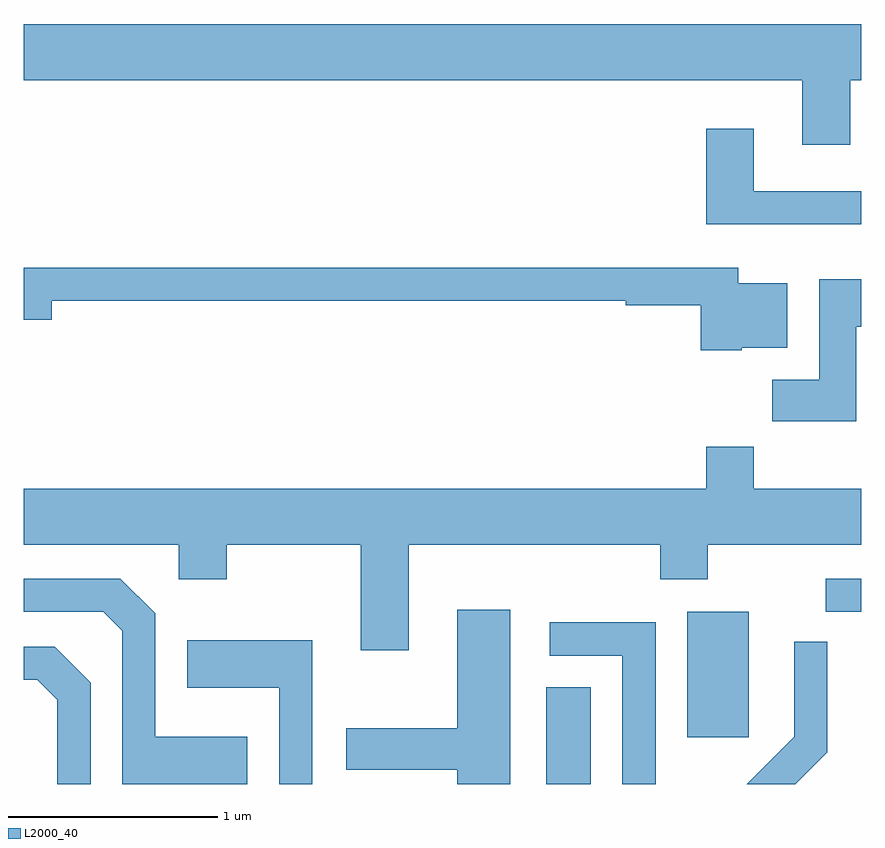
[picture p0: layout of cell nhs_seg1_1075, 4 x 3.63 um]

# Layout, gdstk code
import gdstk
lib = gdstk.Library(unit=1e-6, precision=1e-09)
def R(c, l, rs):  # rectangles x0, y0, x1, y1
    for r in rs: c.add(gdstk.rectangle(r[:2], r[2:], *l))
def P(c, l, *ps):  # polygons
    for p in ps: c.add(gdstk.Polygon(p, *l))
L2000_40 = (2000, 40)

nhs_seg1_1075 = lib.new_cell('nhs_seg1_1075')
R(nhs_seg1_1075, L2000_40, [(220.106,951.712,220.319,952.174), (220.781,951.936,221.074,952.534), (221.443,952.536,221.611,952.694)])
P(nhs_seg1_1075, L2000_40, [(221.559,955.076),(221.611,955.076),(221.611,955.344),(217.611,955.344),(217.611,955.076),(221.331,955.076),(221.331,954.766),(221.559,954.766)],
  [(221.611,954.544),(221.099,954.544),(221.099,954.844),(220.871,954.844),(220.871,954.386),(221.611,954.386)],
  [(221.04,953.796),(221.259,953.796),(221.259,954.104),(221.024,954.104),(221.024,954.179),(217.611,954.179),(217.611,953.931),(217.744,953.931),(217.744,954.021),(220.486,954.021),(220.486,954.001),(220.846,954.001),(220.846,953.786),(221.04,953.786)],
  [(221.589,953.896),(221.611,953.896),(221.611,954.124),(221.411,954.124),(221.411,953.644),(221.186,953.644),(221.186,953.446),(221.589,953.446)],
  [(219.449,952.856),(220.651,952.856),(220.651,952.691),(220.879,952.691),(220.879,952.856),(221.611,952.856),(221.611,953.124),(221.099,953.124),(221.099,953.324),(220.871,953.324),(220.871,953.124),(217.611,953.124),(217.611,952.856),(218.351,952.856),(218.351,952.691),(218.579,952.691),(218.579,952.856),(219.221,952.856),(219.221,952.351),(219.449,952.351)],
  [(218.679,951.939),(218.239,951.939),(218.239,952.527),(218.072,952.694),(217.611,952.694),(217.611,952.536),(217.989,952.536),(218.081,952.444),(218.081,951.712),(218.679,951.712)],
  [(219.934,952.544),(219.681,952.544),(219.681,951.979),(219.151,951.979),(219.151,951.781),(219.681,951.781),(219.681,951.712),(219.934,951.712)],
  [(220.629,952.484),(220.123,952.484),(220.123,952.326),(220.471,952.326),(220.471,951.712),(220.629,951.712)],
  [(218.989,952.399),(218.391,952.399),(218.391,952.171),(218.831,952.171),(218.831,951.712),(218.989,951.712)],
  [(221.449,951.864),(221.449,952.393),(221.291,952.393),(221.291,951.937),(221.066,951.712),(221.297,951.712)],
  [(217.929,952.197),(217.757,952.369),(217.611,952.369),(217.611,952.211),(217.674,952.211),(217.771,952.114),(217.771,951.712),(217.929,951.712)])

lib.write_gds('nhs_seg1_1075.gds')
